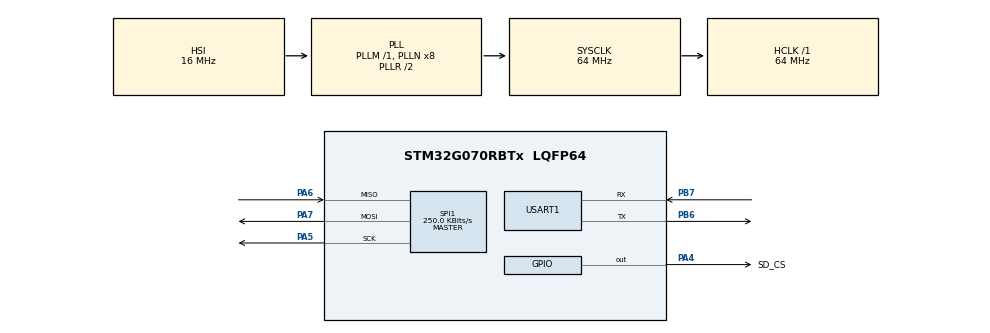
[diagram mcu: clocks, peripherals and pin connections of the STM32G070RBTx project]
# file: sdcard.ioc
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Mcu.Family=STM32G0
Mcu.Name=STM32G070RBTx
Mcu.Package=LQFP64
PA13.Mode=Serial_Wire
PA13.Signal=SYS_SWDIO
PA14-BOOT0.Mode=Serial_Wire
PA14-BOOT0.Signal=SYS_SWCLK
PA4.GPIO_Label=SD_CS
PA4.Signal=GPIO_Output
PA5.Mode=Full_Duplex_Master
PA5.Signal=SPI1_SCK
PA6.Mode=Full_Duplex_Master
PA6.Signal=SPI1_MISO
PA7.Mode=Full_Duplex_Master
PA7.Signal=SPI1_MOSI
PB6.Mode=Asynchronous
PB6.Signal=USART1_TX
PB7.Mode=Asynchronous
PB7.Signal=USART1_RX
ProjectManager.HeapSize=0x200
ProjectManager.StackSize=0x400
ProjectManager.TargetToolchain=MDK-ARM V5.32
RCC.ADCFreq_Value=64000000
RCC.AHBFreq_Value=64000000
RCC.CortexFreq_Value=64000000
RCC.EXTERNAL_CLOCK_VALUE=48000
RCC.HCLKFreq_Value=64000000
RCC.HSE_VALUE=8000000
RCC.HSI_VALUE=16000000
RCC.LSE_VALUE=32768
RCC.SYSCLKFreq_VALUE=64000000
RCC.SYSCLKSource=RCC_SYSCLKSOURCE_PLLCLK
RCC.VCOOutputFreq_Value=128000000
SPI1.BaudRatePrescaler=SPI_BAUDRATEPRESCALER_256
SPI1.CalculateBaudRate=250.0 KBits/s
SPI1.DataSize=SPI_DATASIZE_8BIT
SPI1.Direction=SPI_DIRECTION_2LINES
SPI1.Mode=SPI_MODE_MASTER
SPI1.VirtualType=VM_MASTER
USART1.VirtualMode-Asynchronous=VM_ASYNC
VP_FATFS_VS_Generic.Mode=User_defined
VP_SYS_VS_DBSignals.Mode=DisableDeadBatterySignals
board=custom

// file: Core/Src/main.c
/* USER CODE BEGIN Header */
/**
  ******************************************************************************
  * @file           : main.c
  * @brief          : Main program body
  ******************************************************************************
  * @attention
  *
  * <h2><center>&copy; Copyright (c) 2022 STMicroelectronics.
  * All rights reserved.</center></h2>
  *
  * This software component is licensed by ST under BSD 3-Clause license,
  * the "License"; You may not use this file except in compliance with the
  * License. You may obtain a copy of the License at:
  *                        opensource.org/licenses/BSD-3-Clause
  *
  ******************************************************************************
  */
/* USER CODE END Header */
#include "main.h"
#include "app_fatfs.h"
#include "spi.h"
#include "usart.h"
#include "gpio.h"

/* USER CODE BEGIN Includes */
#include <string.h>
#include <stdio.h>
#include <stdarg.h>
/* USER CODE END Includes */

void SystemClock_Config(void);

/* USER CODE BEGIN 0 */
void log_print(const char *fmt, ...) {
  static char buffer[256];
  va_list args;
  va_start(args, fmt);
  vsnprintf(buffer, sizeof(buffer), fmt, args);
  va_end(args);

  int len = strlen(buffer);
  HAL_UART_Transmit(&huart1, (uint8_t*)buffer, len, -1);

}
/* USER CODE END 0 */

int main(void)
{

  /* MCU Configuration--------------------------------------------------------*/

  /* Reset of all peripherals, Initializes the Flash interface and the Systick. */
  HAL_Init();

  /* Configure the system clock */
  SystemClock_Config();

  /* Initialize all configured peripherals */
  MX_GPIO_Init();
  MX_USART1_UART_Init();
  MX_SPI1_Init();
  if (MX_FATFS_Init() != APP_OK) {
    Error_Handler();
  }
  /* USER CODE BEGIN 2 */

  log_print("\n -------------- testing SD card -----------\n");

  HAL_Delay(1000); //some delay for sd card ready

  FATFS FatFs; 	//Fatfs handle
  FIL fil; 		//File handle
  FRESULT fres; //Result after operations

  //Mount fs
  fres = f_mount(&FatFs, "", 1); //1=mount now
  if (fres != FR_OK) {
	log_print("f_mount error (%i)\r\n", fres);
	while(1);
  }else{
	log_print("mound fs OK.\r\n");
  }

  //Write fs
  fres = f_open(&fil, "write.txt", FA_WRITE | FA_OPEN_ALWAYS | FA_CREATE_ALWAYS);
  if(fres == FR_OK) {
	log_print("Open/Create file OK.\r\n");
  } else {
	log_print("f_open error (%i)\r\n", fres);
  }

  //write text
  char buff[] = "write testing for fs\r\n";
  UINT bytesWrote;
  fres = f_write(&fil, buff, sizeof(buff), &bytesWrote);
  if(fres == FR_OK) {
	log_print("write %i bytes OK.\r\n", bytesWrote);
  } else {
	log_print("f_write error (%i)\r\n");
  }

  //close fs
  f_close(&fil);
  log_print(" close the fs\r\n");

  //Unmound
  f_mount(NULL, "", 0);
  log_print(" unmount fs\r\n");

  /* USER CODE END 2 */

  /* Infinite loop */
  while (1)
  {

  }
}

void SystemClock_Config(void)
{
  RCC_OscInitTypeDef RCC_OscInitStruct = {0};
  RCC_ClkInitTypeDef RCC_ClkInitStruct = {0};
  RCC_PeriphCLKInitTypeDef PeriphClkInit = {0};

  /** Configure the main internal regulator output voltage
  */
  HAL_PWREx_ControlVoltageScaling(PWR_REGULATOR_VOLTAGE_SCALE1);
  /** Initializes the RCC Oscillators according to the specified parameters
  * in the RCC_OscInitTypeDef structure.
  */
  RCC_OscInitStruct.OscillatorType = RCC_OSCILLATORTYPE_HSI;
  RCC_OscInitStruct.HSIState = RCC_HSI_ON;
  RCC_OscInitStruct.HSIDiv = RCC_HSI_DIV1;
  RCC_OscInitStruct.HSICalibrationValue = RCC_HSICALIBRATION_DEFAULT;
  RCC_OscInitStruct.PLL.PLLState = RCC_PLL_ON;
  RCC_OscInitStruct.PLL.PLLSource = RCC_PLLSOURCE_HSI;
  RCC_OscInitStruct.PLL.PLLM = RCC_PLLM_DIV1;
  RCC_OscInitStruct.PLL.PLLN = 8;
  RCC_OscInitStruct.PLL.PLLP = RCC_PLLP_DIV2;
  RCC_OscInitStruct.PLL.PLLR = RCC_PLLR_DIV2;
  if (HAL_RCC_OscConfig(&RCC_OscInitStruct) != HAL_OK)
  {
    Error_Handler();
  }
  /** Initializes the CPU, AHB and APB buses clocks
  */
  RCC_ClkInitStruct.ClockType = RCC_CLOCKTYPE_HCLK|RCC_CLOCKTYPE_SYSCLK
                              |RCC_CLOCKTYPE_PCLK1;
  RCC_ClkInitStruct.SYSCLKSource = RCC_SYSCLKSOURCE_PLLCLK;
  RCC_ClkInitStruct.AHBCLKDivider = RCC_SYSCLK_DIV1;
  RCC_ClkInitStruct.APB1CLKDivider = RCC_HCLK_DIV1;

  if (HAL_RCC_ClockConfig(&RCC_ClkInitStruct, FLASH_LATENCY_2) != HAL_OK)
  {
    Error_Handler();
  }
  /** Initializes the peripherals clocks
  */
  PeriphClkInit.PeriphClockSelection = RCC_PERIPHCLK_USART1;
  PeriphClkInit.Usart1ClockSelection = RCC_USART1CLKSOURCE_PCLK1;
  if (HAL_RCCEx_PeriphCLKConfig(&PeriphClkInit) != HAL_OK)
  {
    Error_Handler();
  }
}

void Error_Handler(void)
{
  __disable_irq();
  while (1)
  {
  }
}

/************************ (C) COPYRIGHT STMicroelectronics *****END OF FILE****/
